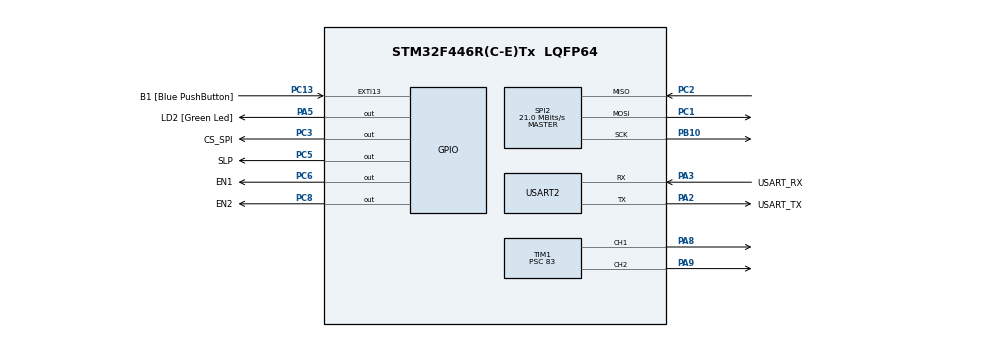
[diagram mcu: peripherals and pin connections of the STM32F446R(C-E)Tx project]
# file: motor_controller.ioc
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Mcu.Family=STM32F4
Mcu.Name=STM32F446R(C-E)Tx
Mcu.Package=LQFP64
NVIC.PriorityGroup=NVIC_PRIORITYGROUP_0
PA13.GPIO_Label=TMS
PA13.Mode=Serial_Wire
PA13.Signal=SYS_JTMS-SWDIO
PA14.GPIO_Label=TCK
PA14.Mode=Serial_Wire
PA14.Signal=SYS_JTCK-SWCLK
PA2.GPIO_Label=USART_TX
PA2.Mode=Asynchronous
PA2.Signal=USART2_TX
PA3.GPIO_Label=USART_RX
PA3.Mode=Asynchronous
PA3.Signal=USART2_RX
PA5.GPIO_Label=LD2 [Green Led]
PA5.Signal=GPIO_Output
PA8.Signal=S_TIM1_CH1
PA9.Signal=S_TIM1_CH2
PB10.Mode=Full_Duplex_Master
PB10.Signal=SPI2_SCK
PB3.GPIO_Label=SWO
PB3.Signal=SYS_JTDO-SWO
PB6.Signal=I2C1_SCL
PB7.Signal=I2C1_SDA
PC1.Mode=Full_Duplex_Master
PC1.Signal=SPI2_MOSI
PC13.GPIO_Label=B1 [Blue PushButton]
PC13.GPIO_ModeDefaultEXTI=GPIO_MODE_IT_FALLING
PC13.Signal=GPXTI13
PC14-OSC32_IN.Mode=LSE-External-Oscillator
PC14-OSC32_IN.Signal=RCC_OSC32_IN
PC15-OSC32_OUT.Mode=LSE-External-Oscillator
PC15-OSC32_OUT.Signal=RCC_OSC32_OUT
PC2.Mode=Full_Duplex_Master
PC2.Signal=SPI2_MISO
PC3.GPIO_Label=CS_SPI
PC3.GPIO_PuPd=GPIO_NOPULL
PC3.PinState=GPIO_PIN_SET
PC3.Signal=GPIO_Output
PC5.GPIO_Label=SLP
PC5.Signal=GPIO_Output
PC6.GPIO_Label=EN1
PC6.Signal=GPIO_Output
PC8.GPIO_Label=EN2
PC8.Signal=GPIO_Output
PH0-OSC_IN.Mode=HSE-External-Oscillator
PH0-OSC_IN.Signal=RCC_OSC_IN
PH1-OSC_OUT.Mode=HSE-External-Oscillator
PH1-OSC_OUT.Signal=RCC_OSC_OUT
ProjectManager.HeapSize=0x200
ProjectManager.StackSize=0x400
ProjectManager.TargetToolchain=STM32CubeIDE
RCC.48MHZClocksFreq_Value=84000000
RCC.AHBFreq_Value=84000000
RCC.APB1CLKDivider=RCC_HCLK_DIV2
RCC.APB1Freq_Value=42000000
RCC.APB1TimFreq_Value=84000000
RCC.APB2Freq_Value=84000000
RCC.APB2TimFreq_Value=84000000
RCC.CortexFreq_Value=84000000
RCC.FLatency-AdvancedSettings=FLASH_LATENCY_2
RCC.HCLKFreq_Value=84000000
RCC.HSE_VALUE=8000000
RCC.HSI_VALUE=16000000
RCC.PLLN=336
RCC.PLLP=RCC_PLLP_DIV4
RCC.SYSCLKFreq_VALUE=84000000
RCC.SYSCLKSource=RCC_SYSCLKSOURCE_PLLCLK
RCC.USBFreq_Value=168000000
RCC.VCOOutputFreq_Value=336000000
SH.S_TIM1_CH1.0=TIM1_CH1,PWM Generation1 CH1
SH.S_TIM1_CH2.0=TIM1_CH2,PWM Generation2 CH2
SPI2.CalculateBaudRate=21.0 MBits/s
SPI2.Direction=SPI_DIRECTION_2LINES
SPI2.Mode=SPI_MODE_MASTER
SPI2.VirtualType=VM_MASTER
TIM1.AutoReloadPreload=TIM_AUTORELOAD_PRELOAD_ENABLE
TIM1.AutomaticOutput=TIM_AUTOMATICOUTPUT_DISABLE
TIM1.Channel-PWM\ Generation1\ CH1=TIM_CHANNEL_1
TIM1.Channel-PWM\ Generation2\ CH2=TIM_CHANNEL_2
TIM1.OCPolarity_1=TIM_OCPOLARITY_HIGH
TIM1.OCPolarity_2=TIM_OCPOLARITY_HIGH
TIM1.Period=99
TIM1.Prescaler=83
USART2.VirtualMode=VM_ASYNC
VP_TIM1_VS_ClockSourceINT.Mode=Internal
board=NUCLEO-F446RE

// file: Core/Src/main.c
/* USER CODE BEGIN Header */
/**
  ******************************************************************************
  * @file           : main.c
  * @brief          : Main program body
  ******************************************************************************
  * @attention
  *
  * Copyright (c) 2024 STMicroelectronics.
  * All rights reserved.
  *
  * This software is licensed under terms that can be found in the LICENSE file
  * in the root directory of this software component.
  * If no LICENSE file comes with this software, it is provided AS-IS.
  *
  ******************************************************************************
  */
/* USER CODE END Header */
#include "main.h"

/* USER CODE BEGIN Includes */
#include <stdio.h>
/* USER CODE END Includes */

/* USER CODE BEGIN PV */
volatile uint32_t systick_counter = 0;

uint16_t duty;
uint16_t autoReload;
/* USER CODE END PV */

void SystemClock_Config(void);
static void MX_GPIO_Init(void);
static void MX_USART2_UART_Init(void);
static void MX_TIM1_Init(void);
static void MX_SPI2_Init(void);
/* USER CODE BEGIN PFP */
uint32_t SPI_ReadRegister(uint8_t address);
uint8_t calculate_crc8(uint32_t data);
/* USER CODE END PFP */

/* USER CODE BEGIN 0 */
int _write(int file, char *ptr, int len) {
  /* Implement your write code here, this is used by puts and printf for example */
  int i=0;
  for(i=0 ; i<len ; i++)
    ITM_SendChar((*ptr++));
  return len;
}

// CRC-8 calculation based on polynomial 0x8E and left bit shift
uint8_t calculate_crc8(uint32_t data)
{
    uint8_t crc = 0x00;  // Initial value is 0x00
    uint8_t poly = 0x8E; // Polynomial x^8 + x^4 + x^3 + x^2 + 1

    // Operate on bits 39-8 (32 bits total) in the data
    for (int i = 31; i >= 0; i--) {
        uint8_t bit = (data >> i) & 0x01;  // Get current bit
        crc ^= (bit << 7);                 // XOR the highest bit

        // Perform 8-bit CRC calculation
        for (int j = 0; j < 8; j++) {
            if (crc & 0x80) {
                crc = (crc << 1) ^ poly;   // XOR with polynomial if MSB is 1
            } else {
                crc <<= 1;                 // Left shift if MSB is 0
            }
        }
    }

    return crc;
}

uint32_t SPI_ReadRegister(uint8_t address)
{
    uint32_t command = 0x00000000;  // Initialize command
    command |= (0x0 << 39);         // Set bit39 (RW) to 0 for read
    command |= ((address & 0x7F) << 32);  // Set bits 38-32 for address

    // Calculate CRC for bits 39-8 (command part without CRC)
    uint8_t crc = calculate_crc8(command);

    // Send 40 bits (5 bytes: 32-bit command + 8-bit CRC)
    uint8_t tx_data[5];
    tx_data[0] = (command >> 32) & 0xFF;  // Byte 4 (bits 39-32)
    tx_data[1] = (command >> 24) & 0xFF;  // Byte 3 (bits 31-24)
    tx_data[2] = (command >> 16) & 0xFF;  // Byte 2 (bits 23-16)
    tx_data[3] = (command >> 8) & 0xFF;   // Byte 1 (bits 15-8)
    tx_data[4] = crc;                     // CRC byte

    // Transmit the command over SPI
    for (int i = 0; i < 5; i++) {
        while (!LL_SPI_IsActiveFlag_TXE(SPI1));  // Wait for TX buffer to be empty
        LL_SPI_TransmitData8(SPI1, tx_data[i]);  // Send byte

        while (!LL_SPI_IsActiveFlag_RXNE(SPI1)); // Wait for reception
        LL_SPI_ReceiveData8(SPI1);               // Dummy read to clear RXNE
    }

    // Now receive 40 bits of response (5 bytes)
    uint8_t rx_data[5] = {0};
    for (int i = 0; i < 5; i++) {
        while (!LL_SPI_IsActiveFlag_TXE(SPI1));  // Wait for TX buffer to be empty
        LL_SPI_TransmitData8(SPI1, 0x00);        // Dummy byte to receive

        while (!LL_SPI_IsActiveFlag_RXNE(SPI1)); // Wait for reception
        rx_data[i] = LL_SPI_ReceiveData8(SPI1);  // Read byte
    }

    // Combine the response into a 32-bit value (bits 31-8)
    uint32_t received_data = 0;
    received_data |= (rx_data[1] << 24);
    received_data |= (rx_data[2] << 16);
    received_data |= (rx_data[3] << 8);
    received_data |= rx_data[4];  // CRC byte can be validated separately

    return received_data;
}
/* USER CODE END 0 */

int main(void)
{

  /* MCU Configuration--------------------------------------------------------*/

  /* Reset of all peripherals, Initializes the Flash interface and the Systick. */
  LL_APB2_GRP1_EnableClock(LL_APB2_GRP1_PERIPH_SYSCFG);
  LL_APB1_GRP1_EnableClock(LL_APB1_GRP1_PERIPH_PWR);

  /* System interrupt init*/
  NVIC_SetPriorityGrouping(NVIC_PRIORITYGROUP_0);

  /* Configure the system clock */
  SystemClock_Config();

  /* Initialize all configured peripherals */
  MX_GPIO_Init();
  MX_USART2_UART_Init();
  MX_TIM1_Init();
  MX_SPI2_Init();
  /* USER CODE BEGIN 2 */

  // Enable systick handler
  LL_SYSTICK_EnableIT();
  uint32_t last_tick = 0;
  uint32_t blink_interval = 1000; // Interval for LED blinking
  /* Enable TIM1 counter and outputs */
  LL_TIM_EnableCounter(TIM1);
  // enable TIM4 ch1, ch2, ch3, ch4
  LL_TIM_CC_EnableChannel(TIM1, LL_TIM_CHANNEL_CH1);
  LL_TIM_CC_EnableChannel(TIM1, LL_TIM_CHANNEL_CH2);

  LL_GPIO_SetOutputPin(EN1_GPIO_Port, EN1_Pin);
  LL_GPIO_ResetOutputPin(EN2_GPIO_Port, EN2_Pin);
  LL_GPIO_SetOutputPin(SLP_GPIO_Port, SLP_Pin);

  LL_TIM_OC_SetCompareCH1(TIM1,(uint16_t)50); //PWM1
  LL_TIM_OC_SetCompareCH2(TIM1,(uint16_t)0); //PWM2
  // read CCRx & ARR registers
  duty = LL_TIM_OC_GetCompareCH1(TIM1);
  autoReload = LL_TIM_GetAutoReload(TIM1);

  LL_TIM_EnableAllOutputs(TIM1);
  /* USER CODE END 2 */

  /* Infinite loop */
  /* USER CODE BEGIN WHILE */

  LL_SPI_Enable(SPI2);
  // The register address you want to read from (for example, 0x05)
  uint8_t register_address = 0x01;

  // Read from the specified register
  uint32_t received_data = SPI_ReadRegister(register_address);
  while (1)
  {
	// Check if the blink interval has elapsed
	if ((systick_counter - last_tick) >= blink_interval)
	{
		systick_counter = 0;
		last_tick = 0;
		LL_GPIO_TogglePin(LD2_GPIO_Port, LD2_Pin);
		// LL_TIM_OC_SetCompareCH1(TIM4, ++duty);
		// LL_TIM_OC_SetCompareCH2(TIM4, ++duty);
		printf("duty: %d %d \n", duty, autoReload);
	}
	printf("%d \n",(uint32_t)LL_TIM_GetCounter(TIM1));

    /* USER CODE END WHILE */

  }
}

void SystemClock_Config(void)
{
  LL_FLASH_SetLatency(LL_FLASH_LATENCY_2);
  while(LL_FLASH_GetLatency()!= LL_FLASH_LATENCY_2)
  {
  }
  LL_PWR_SetRegulVoltageScaling(LL_PWR_REGU_VOLTAGE_SCALE3);
  LL_PWR_DisableOverDriveMode();
  LL_RCC_HSI_SetCalibTrimming(16);
  LL_RCC_HSI_Enable();

   /* Wait till HSI is ready */
  while(LL_RCC_HSI_IsReady() != 1)
  {

  }
  LL_RCC_PLL_ConfigDomain_SYS(LL_RCC_PLLSOURCE_HSI, LL_RCC_PLLM_DIV_16, 336, LL_RCC_PLLP_DIV_4);
  LL_RCC_PLL_Enable();

   /* Wait till PLL is ready */
  while(LL_RCC_PLL_IsReady() != 1)
  {

  }
  while (LL_PWR_IsActiveFlag_VOS() == 0)
  {
  }
  LL_RCC_SetAHBPrescaler(LL_RCC_SYSCLK_DIV_1);
  LL_RCC_SetAPB1Prescaler(LL_RCC_APB1_DIV_2);
  LL_RCC_SetAPB2Prescaler(LL_RCC_APB2_DIV_1);
  LL_RCC_SetSysClkSource(LL_RCC_SYS_CLKSOURCE_PLL);

   /* Wait till System clock is ready */
  while(LL_RCC_GetSysClkSource() != LL_RCC_SYS_CLKSOURCE_STATUS_PLL)
  {

  }
  LL_Init1msTick(84000000);
  LL_SetSystemCoreClock(84000000);
  LL_RCC_SetTIMPrescaler(LL_RCC_TIM_PRESCALER_TWICE);
}

static void MX_SPI2_Init(void)
{

  LL_SPI_InitTypeDef SPI_InitStruct = {0};

  LL_GPIO_InitTypeDef GPIO_InitStruct = {0};

  /* Peripheral clock enable */
  LL_APB1_GRP1_EnableClock(LL_APB1_GRP1_PERIPH_SPI2);

  LL_AHB1_GRP1_EnableClock(LL_AHB1_GRP1_PERIPH_GPIOC);
  LL_AHB1_GRP1_EnableClock(LL_AHB1_GRP1_PERIPH_GPIOB);
  /**SPI2 GPIO Configuration
  PC1   ------> SPI2_MOSI
  PC2   ------> SPI2_MISO
  PB10   ------> SPI2_SCK
  */
  GPIO_InitStruct.Pin = LL_GPIO_PIN_1;
  GPIO_InitStruct.Mode = LL_GPIO_MODE_ALTERNATE;
  GPIO_InitStruct.Speed = LL_GPIO_SPEED_FREQ_VERY_HIGH;
  GPIO_InitStruct.OutputType = LL_GPIO_OUTPUT_PUSHPULL;
  GPIO_InitStruct.Pull = LL_GPIO_PULL_NO;
  GPIO_InitStruct.Alternate = LL_GPIO_AF_7;
  LL_GPIO_Init(GPIOC, &GPIO_InitStruct);

  GPIO_InitStruct.Pin = LL_GPIO_PIN_2;
  GPIO_InitStruct.Mode = LL_GPIO_MODE_ALTERNATE;
  GPIO_InitStruct.Speed = LL_GPIO_SPEED_FREQ_VERY_HIGH;
  GPIO_InitStruct.OutputType = LL_GPIO_OUTPUT_PUSHPULL;
  GPIO_InitStruct.Pull = LL_GPIO_PULL_NO;
  GPIO_InitStruct.Alternate = LL_GPIO_AF_5;
  LL_GPIO_Init(GPIOC, &GPIO_InitStruct);

  GPIO_InitStruct.Pin = LL_GPIO_PIN_10;
  GPIO_InitStruct.Mode = LL_GPIO_MODE_ALTERNATE;
  GPIO_InitStruct.Speed = LL_GPIO_SPEED_FREQ_VERY_HIGH;
  GPIO_InitStruct.OutputType = LL_GPIO_OUTPUT_PUSHPULL;
  GPIO_InitStruct.Pull = LL_GPIO_PULL_NO;
  GPIO_InitStruct.Alternate = LL_GPIO_AF_5;
  LL_GPIO_Init(GPIOB, &GPIO_InitStruct);

  /* SPI2 parameter configuration*/
  SPI_InitStruct.TransferDirection = LL_SPI_FULL_DUPLEX;
  SPI_InitStruct.Mode = LL_SPI_MODE_MASTER;
  SPI_InitStruct.DataWidth = LL_SPI_DATAWIDTH_8BIT;
  SPI_InitStruct.ClockPolarity = LL_SPI_POLARITY_LOW;
  SPI_InitStruct.ClockPhase = LL_SPI_PHASE_1EDGE;
  SPI_InitStruct.NSS = LL_SPI_NSS_SOFT;
  SPI_InitStruct.BaudRate = LL_SPI_BAUDRATEPRESCALER_DIV2;
  SPI_InitStruct.BitOrder = LL_SPI_MSB_FIRST;
  SPI_InitStruct.CRCCalculation = LL_SPI_CRCCALCULATION_DISABLE;
  SPI_InitStruct.CRCPoly = 10;
  LL_SPI_Init(SPI2, &SPI_InitStruct);
  LL_SPI_SetStandard(SPI2, LL_SPI_PROTOCOL_MOTOROLA);

}

static void MX_TIM1_Init(void)
{

  LL_TIM_InitTypeDef TIM_InitStruct = {0};
  LL_TIM_OC_InitTypeDef TIM_OC_InitStruct = {0};
  LL_TIM_BDTR_InitTypeDef TIM_BDTRInitStruct = {0};

  LL_GPIO_InitTypeDef GPIO_InitStruct = {0};

  /* Peripheral clock enable */
  LL_APB2_GRP1_EnableClock(LL_APB2_GRP1_PERIPH_TIM1);

  TIM_InitStruct.Prescaler = 83;
  TIM_InitStruct.CounterMode = LL_TIM_COUNTERMODE_UP;
  TIM_InitStruct.Autoreload = 99;
  TIM_InitStruct.ClockDivision = LL_TIM_CLOCKDIVISION_DIV1;
  TIM_InitStruct.RepetitionCounter = 0;
  LL_TIM_Init(TIM1, &TIM_InitStruct);
  LL_TIM_EnableARRPreload(TIM1);
  LL_TIM_SetClockSource(TIM1, LL_TIM_CLOCKSOURCE_INTERNAL);
  LL_TIM_OC_EnablePreload(TIM1, LL_TIM_CHANNEL_CH1);
  TIM_OC_InitStruct.OCMode = LL_TIM_OCMODE_PWM1;
  TIM_OC_InitStruct.OCState = LL_TIM_OCSTATE_DISABLE;
  TIM_OC_InitStruct.OCNState = LL_TIM_OCSTATE_DISABLE;
  TIM_OC_InitStruct.CompareValue = 0;
  TIM_OC_InitStruct.OCPolarity = LL_TIM_OCPOLARITY_HIGH;
  TIM_OC_InitStruct.OCNPolarity = LL_TIM_OCPOLARITY_HIGH;
  TIM_OC_InitStruct.OCIdleState = LL_TIM_OCIDLESTATE_LOW;
  TIM_OC_InitStruct.OCNIdleState = LL_TIM_OCIDLESTATE_LOW;
  LL_TIM_OC_Init(TIM1, LL_TIM_CHANNEL_CH1, &TIM_OC_InitStruct);
  LL_TIM_OC_DisableFast(TIM1, LL_TIM_CHANNEL_CH1);
  LL_TIM_OC_EnablePreload(TIM1, LL_TIM_CHANNEL_CH2);
  LL_TIM_OC_Init(TIM1, LL_TIM_CHANNEL_CH2, &TIM_OC_InitStruct);
  LL_TIM_OC_DisableFast(TIM1, LL_TIM_CHANNEL_CH2);
  LL_TIM_SetTriggerOutput(TIM1, LL_TIM_TRGO_RESET);
  LL_TIM_DisableMasterSlaveMode(TIM1);
  TIM_BDTRInitStruct.OSSRState = LL_TIM_OSSR_DISABLE;
  TIM_BDTRInitStruct.OSSIState = LL_TIM_OSSI_DISABLE;
  TIM_BDTRInitStruct.LockLevel = LL_TIM_LOCKLEVEL_OFF;
  TIM_BDTRInitStruct.DeadTime = 0;
  TIM_BDTRInitStruct.BreakState = LL_TIM_BREAK_DISABLE;
  TIM_BDTRInitStruct.BreakPolarity = LL_TIM_BREAK_POLARITY_HIGH;
  TIM_BDTRInitStruct.AutomaticOutput = LL_TIM_AUTOMATICOUTPUT_DISABLE;
  LL_TIM_BDTR_Init(TIM1, &TIM_BDTRInitStruct);
  LL_AHB1_GRP1_EnableClock(LL_AHB1_GRP1_PERIPH_GPIOA);
  /**TIM1 GPIO Configuration
  PA8   ------> TIM1_CH1
  PA9   ------> TIM1_CH2
  */
  GPIO_InitStruct.Pin = LL_GPIO_PIN_8|LL_GPIO_PIN_9;
  GPIO_InitStruct.Mode = LL_GPIO_MODE_ALTERNATE;
  GPIO_InitStruct.Speed = LL_GPIO_SPEED_FREQ_LOW;
  GPIO_InitStruct.OutputType = LL_GPIO_OUTPUT_PUSHPULL;
  GPIO_InitStruct.Pull = LL_GPIO_PULL_NO;
  GPIO_InitStruct.Alternate = LL_GPIO_AF_1;
  LL_GPIO_Init(GPIOA, &GPIO_InitStruct);

}

static void MX_USART2_UART_Init(void)
{

  LL_USART_InitTypeDef USART_InitStruct = {0};

  LL_GPIO_InitTypeDef GPIO_InitStruct = {0};

  /* Peripheral clock enable */
  LL_APB1_GRP1_EnableClock(LL_APB1_GRP1_PERIPH_USART2);

  LL_AHB1_GRP1_EnableClock(LL_AHB1_GRP1_PERIPH_GPIOA);
  /**USART2 GPIO Configuration
  PA2   ------> USART2_TX
  PA3   ------> USART2_RX
  */
  GPIO_InitStruct.Pin = USART_TX_Pin|USART_RX_Pin;
  GPIO_InitStruct.Mode = LL_GPIO_MODE_ALTERNATE;
  GPIO_InitStruct.Speed = LL_GPIO_SPEED_FREQ_VERY_HIGH;
  GPIO_InitStruct.OutputType = LL_GPIO_OUTPUT_PUSHPULL;
  GPIO_InitStruct.Pull = LL_GPIO_PULL_NO;
  GPIO_InitStruct.Alternate = LL_GPIO_AF_7;
  LL_GPIO_Init(GPIOA, &GPIO_InitStruct);

  USART_InitStruct.BaudRate = 115200;
  USART_InitStruct.DataWidth = LL_USART_DATAWIDTH_8B;
  USART_InitStruct.StopBits = LL_USART_STOPBITS_1;
  USART_InitStruct.Parity = LL_USART_PARITY_NONE;
  USART_InitStruct.TransferDirection = LL_USART_DIRECTION_TX_RX;
  USART_InitStruct.HardwareFlowControl = LL_USART_HWCONTROL_NONE;
  USART_InitStruct.OverSampling = LL_USART_OVERSAMPLING_16;
  LL_USART_Init(USART2, &USART_InitStruct);
  LL_USART_ConfigAsyncMode(USART2);
  LL_USART_Enable(USART2);

}

static void MX_GPIO_Init(void)
{
  LL_EXTI_InitTypeDef EXTI_InitStruct = {0};
  LL_GPIO_InitTypeDef GPIO_InitStruct = {0};

  /* GPIO Ports Clock Enable */
  LL_AHB1_GRP1_EnableClock(LL_AHB1_GRP1_PERIPH_GPIOC);
  LL_AHB1_GRP1_EnableClock(LL_AHB1_GRP1_PERIPH_GPIOH);
  LL_AHB1_GRP1_EnableClock(LL_AHB1_GRP1_PERIPH_GPIOA);
  LL_AHB1_GRP1_EnableClock(LL_AHB1_GRP1_PERIPH_GPIOB);

  /**/
  LL_GPIO_SetOutputPin(CS_SPI_GPIO_Port, CS_SPI_Pin);

  /**/
  LL_GPIO_ResetOutputPin(LD2_GPIO_Port, LD2_Pin);

  /**/
  LL_GPIO_ResetOutputPin(GPIOC, SLP_Pin|EN1_Pin|EN2_Pin);

  /**/
  LL_SYSCFG_SetEXTISource(LL_SYSCFG_EXTI_PORTC, LL_SYSCFG_EXTI_LINE13);

  /**/
  EXTI_InitStruct.Line_0_31 = LL_EXTI_LINE_13;
  EXTI_InitStruct.LineCommand = ENABLE;
  EXTI_InitStruct.Mode = LL_EXTI_MODE_IT;
  EXTI_InitStruct.Trigger = LL_EXTI_TRIGGER_FALLING;
  LL_EXTI_Init(&EXTI_InitStruct);

  /**/
  LL_GPIO_SetPinPull(B1_GPIO_Port, B1_Pin, LL_GPIO_PULL_NO);

  /**/
  LL_GPIO_SetPinMode(B1_GPIO_Port, B1_Pin, LL_GPIO_MODE_INPUT);

  /**/
  GPIO_InitStruct.Pin = CS_SPI_Pin|SLP_Pin|EN1_Pin|EN2_Pin;
  GPIO_InitStruct.Mode = LL_GPIO_MODE_OUTPUT;
  GPIO_InitStruct.Speed = LL_GPIO_SPEED_FREQ_LOW;
  GPIO_InitStruct.OutputType = LL_GPIO_OUTPUT_PUSHPULL;
  GPIO_InitStruct.Pull = LL_GPIO_PULL_NO;
  LL_GPIO_Init(GPIOC, &GPIO_InitStruct);

  /**/
  GPIO_InitStruct.Pin = LD2_Pin;
  GPIO_InitStruct.Mode = LL_GPIO_MODE_OUTPUT;
  GPIO_InitStruct.Speed = LL_GPIO_SPEED_FREQ_LOW;
  GPIO_InitStruct.OutputType = LL_GPIO_OUTPUT_PUSHPULL;
  GPIO_InitStruct.Pull = LL_GPIO_PULL_NO;
  LL_GPIO_Init(LD2_GPIO_Port, &GPIO_InitStruct);

  /**/
  GPIO_InitStruct.Pin = LL_GPIO_PIN_6|LL_GPIO_PIN_7;
  GPIO_InitStruct.Mode = LL_GPIO_MODE_ALTERNATE;
  GPIO_InitStruct.Speed = LL_GPIO_SPEED_FREQ_VERY_HIGH;
  GPIO_InitStruct.OutputType = LL_GPIO_OUTPUT_OPENDRAIN;
  GPIO_InitStruct.Pull = LL_GPIO_PULL_NO;
  GPIO_InitStruct.Alternate = LL_GPIO_AF_4;
  LL_GPIO_Init(GPIOB, &GPIO_InitStruct);

}

void Error_Handler(void)
{
  __disable_irq();
  while (1)
  {
  }
}
